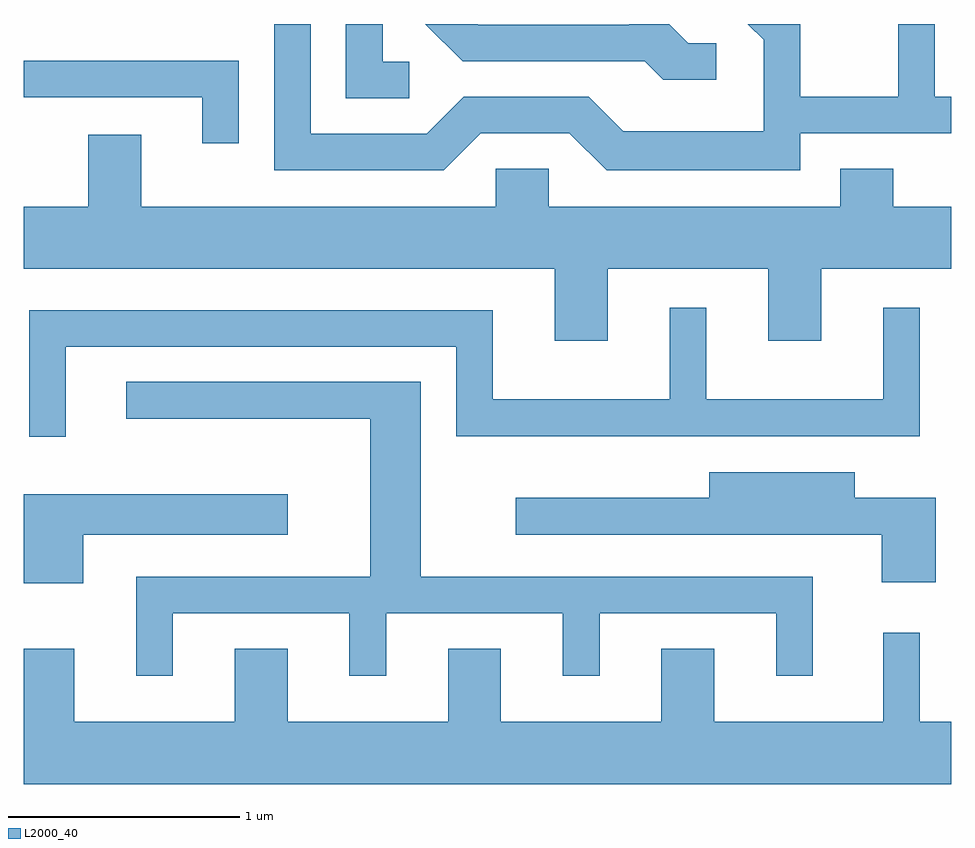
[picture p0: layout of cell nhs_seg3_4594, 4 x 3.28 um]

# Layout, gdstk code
import gdstk
lib = gdstk.Library(unit=1e-6, precision=1e-09)
def P(c, l, *ps):  # polygons
    for p in ps: c.add(gdstk.Polygon(p, *l))
L2000_40 = (2000, 40)

nhs_seg3_4594 = lib.new_cell('nhs_seg3_4594')
P(nhs_seg3_4594, L2000_40, [(321.273,1195.729),(321.159,1195.729),(321.159,1195.892),(321.001,1195.892),(321.001,1195.571),(321.273,1195.571)],
  [(322.598,1195.809),(322.477,1195.809),(322.394,1195.892),(322.221,1195.892),(322.221,1195.889),(321.572,1195.889),(321.569,1195.892),(321.343,1195.892),(321.504,1195.731),(322.289,1195.731),(322.369,1195.651),(322.598,1195.651)],
  [(321.582,1195.421),(321.964,1195.421),(322.124,1195.261),(322.959,1195.261),(322.959,1195.421),(323.611,1195.421),(323.611,1195.579),(323.539,1195.579),(323.539,1195.892),(323.381,1195.892),(323.381,1195.579),(322.959,1195.579),(322.959,1195.892),(322.733,1195.892),(322.801,1195.824),(322.801,1195.429),(322.197,1195.429),(322.047,1195.579),(321.509,1195.579),(321.349,1195.419),(320.849,1195.419),(320.849,1195.892),(320.691,1195.892),(320.691,1195.261),(321.422,1195.261)],
  [(320.539,1195.734),(319.611,1195.734),(319.611,1195.576),(320.381,1195.576),(320.381,1195.378),(320.539,1195.378)],
  [(322.129,1194.836),(322.821,1194.836),(322.821,1194.526),(323.049,1194.526),(323.049,1194.836),(323.611,1194.836),(323.611,1195.104),(323.359,1195.104),(323.359,1195.269),(323.131,1195.269),(323.131,1195.104),(321.874,1195.104),(321.874,1195.269),(321.646,1195.269),(321.646,1195.104),(320.119,1195.104),(320.119,1195.414),(319.891,1195.414),(319.891,1195.104),(319.611,1195.104),(319.611,1194.836),(321.901,1194.836),(321.901,1194.526),(322.129,1194.526)],
  [(319.794,1194.501),(321.476,1194.501),(321.476,1194.116),(323.474,1194.116),(323.474,1194.668),(323.316,1194.668),(323.316,1194.274),(322.554,1194.274),(322.554,1194.668),(322.396,1194.668),(322.396,1194.274),(321.634,1194.274),(321.634,1194.659),(319.636,1194.659),(319.636,1194.113),(319.794,1194.113)],
  [(320.254,1193.351),(321.016,1193.351),(321.016,1193.083),(321.174,1193.083),(321.174,1193.351),(321.936,1193.351),(321.936,1193.083),(322.094,1193.083),(322.094,1193.351),(322.856,1193.351),(322.856,1193.083),(323.014,1193.083),(323.014,1193.509),(321.324,1193.509),(321.324,1194.349),(320.053,1194.349),(320.053,1194.191),(321.106,1194.191),(321.106,1193.509),(320.096,1193.509),(320.096,1193.083),(320.254,1193.083)],
  [(323.544,1193.849),(323.194,1193.849),(323.194,1193.959),(322.566,1193.959),(322.566,1193.849),(321.733,1193.849),(321.733,1193.691),(323.311,1193.691),(323.311,1193.486),(323.544,1193.486)],
  [(319.869,1193.691),(320.749,1193.691),(320.749,1193.864),(319.611,1193.864),(319.611,1193.481),(319.869,1193.481)],
  [(323.611,1192.884),(323.474,1192.884),(323.474,1193.268),(323.316,1193.268),(323.316,1192.884),(322.589,1192.884),(322.589,1193.199),(322.361,1193.199),(322.361,1192.884),(321.669,1192.884),(321.669,1193.199),(321.441,1193.199),(321.441,1192.884),(320.749,1192.884),(320.749,1193.199),(320.521,1193.199),(320.521,1192.884),(319.829,1192.884),(319.829,1193.199),(319.611,1193.199),(319.611,1192.616),(323.611,1192.616)])

lib.write_gds('nhs_seg3_4594.gds')
